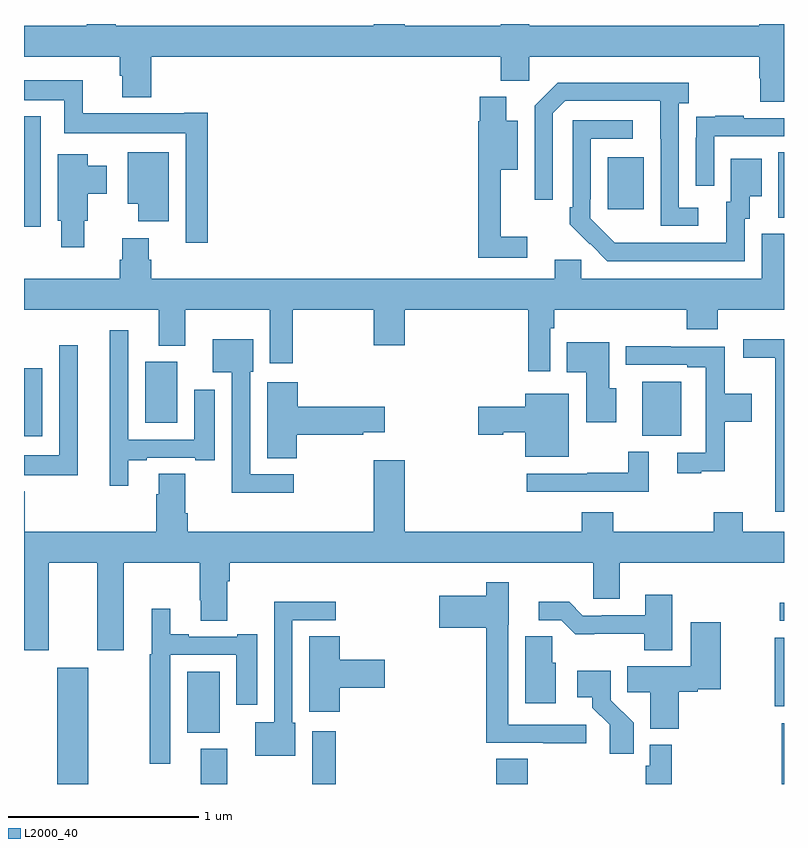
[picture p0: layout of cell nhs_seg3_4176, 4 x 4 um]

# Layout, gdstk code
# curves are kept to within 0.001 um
import gdstk
lib = gdstk.Library(unit=1e-6, precision=1e-09)
def R(c, l, rs):  # rectangles x0, y0, x1, y1
    for r in rs: c.add(gdstk.rectangle(r[:2], r[2:], *l))
def P(c, l, *ps):  # polygons
    for p in ps: c.add(gdstk.Polygon(p, *l))
L2000_40 = (2000, 40)

nhs_seg3_4176 = lib.new_cell('nhs_seg3_4176')
R(nhs_seg3_4176, L2000_40, [(331.175,718.4,331.339,719.011), (331.931,718.4,332.071,718.585), (332.516,718.4,332.642,718.678), (333.485,718.4,333.65,718.532), (334.987,718.4,335,718.72), (331.859,718.67,332.029,718.99), (334.952,718.808,335,719.17), (334.977,719.259,335,719.355), (331,720.23,331.096,720.589), (334.253,720.233,334.459,720.517), (331.637,720.302,331.807,720.622), (331,721.332,331.089,721.915), (334.97,721.381,335,721.724), (334.073,721.425,334.261,721.699)])
P(nhs_seg3_4176, L2000_40, [(335,722.4),(334.871,722.4),(334.871,722.392),(333.66,722.392),(333.66,722.4),(333.509,722.4),(333.509,722.392),(333.004,722.392),(333.004,722.4),(332.84,722.4),(332.84,722.392),(331.484,722.392),(331.484,722.4),(331.331,722.4),(331.331,722.392),(331,722.392),(331,722.228),(331.505,722.228),(331.505,722.127),(331.517,722.127),(331.517,722.015),(331.67,722.015),(331.67,722.228),(333.509,722.228),(333.509,722.102),(333.66,722.102),(333.66,722.228),(334.871,722.228),(334.871,722.115),(334.876,722.115),(334.876,721.99),(335,721.99)],
  [(331.967,721.933),(331.844,721.933),(331.844,721.93),(331.31,721.93),(331.31,722.104),(331,722.104),(331,722),(331.212,722),(331.212,721.826),(331.851,721.826),(331.851,721.248),(331.967,721.248)],
  [(334.549,721.434),(334.446,721.434),(334.446,721.982),(334.498,721.982),(334.498,722.092),(333.808,722.092),(333.687,721.971),(333.687,721.476),(333.783,721.476),(333.783,721.929),(333.849,721.995),(334.349,721.995),(334.35,721.338),(334.549,721.338)],
  [(333.649,721.279),(333.509,721.279),(333.509,721.634),(333.598,721.634),(333.598,721.891),(333.538,721.891),(333.538,722.017),(333.398,722.017),(333.398,721.887),(333.391,721.887),(333.391,721.17),(333.649,721.17)],
  [(334.632,721.809),(335,721.809),(335,721.905),(334.787,721.905),(334.787,721.918),(334.639,721.918),(334.639,721.911),(334.537,721.911),(334.537,721.802),(334.536,721.802),(334.536,721.548),(334.632,721.548)],
  [(334.794,721.374),(334.819,721.374),(334.819,721.493),(334.882,721.493),(334.882,721.69),(334.721,721.69),(334.721,721.464),(334.697,721.464),(334.697,721.248),(334.11,721.249),(333.981,721.377),(333.981,721.477),(333.984,721.477),(333.984,721.797),(334.204,721.797),(334.204,721.893),(333.888,721.893),(333.888,721.435),(333.873,721.435),(333.873,721.347),(334.07,721.152),(334.794,721.152)],
  [(331.762,721.726),(331.547,721.726),(331.547,721.454),(331.601,721.454),(331.601,721.361),(331.762,721.361)],
  [(331.318,721.365),(331.336,721.365),(331.336,721.507),(331.435,721.507),(331.435,721.654),(331.336,721.654),(331.336,721.714),(331.178,721.714),(331.178,721.365),(331.196,721.365),(331.196,721.224),(331.318,721.224)],
  [(333.771,720.8),(333.791,720.8),(333.791,720.896),(334.487,720.896),(334.487,720.794),(334.652,720.794),(334.652,720.896),(335,720.896),(335,721.296),(334.883,721.296),(334.883,721.06),(333.933,721.06),(333.933,721.158),(333.794,721.158),(333.794,721.06),(331.67,721.06),(331.67,721.158),(331.657,721.158),(331.657,721.273),(331.517,721.273),(331.517,721.158),(331.505,721.158),(331.505,721.06),(331,721.06),(331,720.896),(331.709,720.896),(331.709,720.707),(331.849,720.707),(331.849,720.896),(332.294,720.896),(332.294,720.615),(332.415,720.615),(332.415,720.896),(332.84,720.896),(332.84,720.708),(333.004,720.708),(333.004,720.896),(333.655,720.896),(333.655,720.573),(333.771,720.573)],
  [(331.549,720.105),(331.645,720.105),(331.645,720.117),(331.901,720.117),(331.901,720.105),(332.005,720.105),(332.005,720.475),(331.895,720.475),(331.895,720.213),(331.548,720.213),(331.548,720.787),(331.451,720.787),(331.451,719.97),(331.549,719.97)],
  [(332.419,720.03),(332.19,720.03),(332.19,720.57),(332.206,720.57),(332.206,720.742),(331.994,720.742),(331.994,720.566),(332.094,720.566),(332.094,719.933),(332.419,719.933)],
  [(335,720.742),(334.785,720.742),(334.785,720.644),(334.955,720.644),(334.955,719.832),(335,719.832)],
  [(334.117,720.483),(334.081,720.483),(334.081,720.724),(333.856,720.724),(333.856,720.566),(333.959,720.566),(333.959,720.305),(334.117,720.305)],
  [(331.282,720.709),(331.185,720.709),(331.185,720.13),(331,720.13),(331,720.026),(331.282,720.026)],
  [(334.565,720.047),(334.688,720.047),(334.688,720.307),(334.831,720.307),(334.831,720.454),(334.688,720.454),(334.688,720.702),(334.403,720.702),(334.403,720.704),(334.166,720.704),(334.166,720.606),(334.49,720.606),(334.49,720.594),(334.587,720.594),(334.587,720.144),(334.437,720.144),(334.437,720.036),(334.565,720.036)],
  [(332.436,720.239),(332.786,720.239),(332.786,720.251),(332.899,720.251),(332.899,720.386),(332.441,720.386),(332.441,720.514),(332.279,720.514),(332.279,720.115),(332.436,720.115)],
  [(333.868,720.454),(333.638,720.454),(333.638,720.386),(333.39,720.386),(333.39,720.239),(333.522,720.239),(333.522,720.251),(333.638,720.251),(333.638,720.122),(333.868,720.122)],
  [(334.288,720.148),(334.179,720.148),(334.179,720.038),(333.964,720.038),(333.964,720.033),(333.645,720.033),(333.645,719.937),(334.288,719.937)],
  [(331.129,719.564),(331.385,719.564),(331.385,719.103),(331.525,719.103),(331.525,719.564),(331.924,719.564),(331.924,719.368),(331.931,719.368),(331.931,719.26),(332.071,719.26),(332.071,719.468),(332.084,719.468),(332.084,719.564),(333.996,719.564),(333.996,719.374),(334.135,719.374),(334.135,719.564),(335,719.564),(335,719.728),(334.783,719.728),(334.783,719.83),(334.631,719.83),(334.631,719.728),(334.1,719.728),(334.1,719.83),(333.935,719.83),(333.935,719.728),(333.004,719.728),(333.004,720.103),(332.84,720.103),(332.84,719.728),(331.862,719.728),(331.862,719.824),(331.849,719.824),(331.849,720.032),(331.709,720.032),(331.709,719.924),(331.697,719.924),(331.697,719.728),(331.004,719.728),(331.004,719.941),(331,719.941),(331,719.103),(331.129,719.103)],
  [(333.958,718.713),(333.549,718.713),(333.549,719.238),(333.55,719.238),(333.55,719.461),(333.433,719.461),(333.433,719.392),(333.186,719.392),(333.186,719.222),(333.433,719.222),(333.433,718.617),(333.733,718.617),(333.733,718.615),(333.958,718.615)],
  [(334.411,719.395),(334.271,719.395),(334.271,719.289),(334.042,719.289),(334.042,719.286),(333.942,719.286),(333.869,719.359),(333.708,719.359),(333.708,719.262),(333.828,719.262),(333.901,719.189),(334.264,719.19),(334.264,719.105),(334.411,719.105)],
  [(332.428,718.722),(332.412,718.722),(332.412,719.262),(332.641,719.262),(332.641,719.36),(332.316,719.36),(332.316,718.726),(332.216,718.726),(332.216,718.55),(332.428,718.55)],
  [(331.77,719.079),(332.117,719.079),(332.117,718.818),(332.227,718.818),(332.227,719.188),(332.123,719.188),(332.123,719.175),(331.867,719.175),(331.867,719.188),(331.771,719.188),(331.771,719.323),(331.673,719.323),(331.673,719.082),(331.662,719.082),(331.662,718.506),(331.77,718.506)],
  [(334.445,718.886),(334.545,718.886),(334.545,718.898),(334.666,718.898),(334.666,719.251),(334.508,719.251),(334.508,719.02),(334.174,719.02),(334.174,718.882),(334.295,718.882),(334.295,718.691),(334.445,718.691)],
  [(332.663,718.907),(332.899,718.907),(332.899,719.054),(332.663,719.054),(332.663,719.177),(332.501,719.177),(332.501,718.779),(332.663,718.779)],
  [(333.799,719.037),(333.78,719.037),(333.78,719.177),(333.638,719.177),(333.638,718.824),(333.799,718.824)],
  [(334.208,718.722),(334.089,718.841),(334.089,718.996),(333.912,718.996),(333.912,718.856),(333.992,718.856),(333.992,718.801),(334.083,718.711),(334.083,718.56),(334.208,718.56)],
  [(334.409,718.606),(334.293,718.606),(334.293,718.497),(334.273,718.497),(334.273,718.4),(334.409,718.4)])

lib.write_gds('nhs_seg3_4176.gds')
